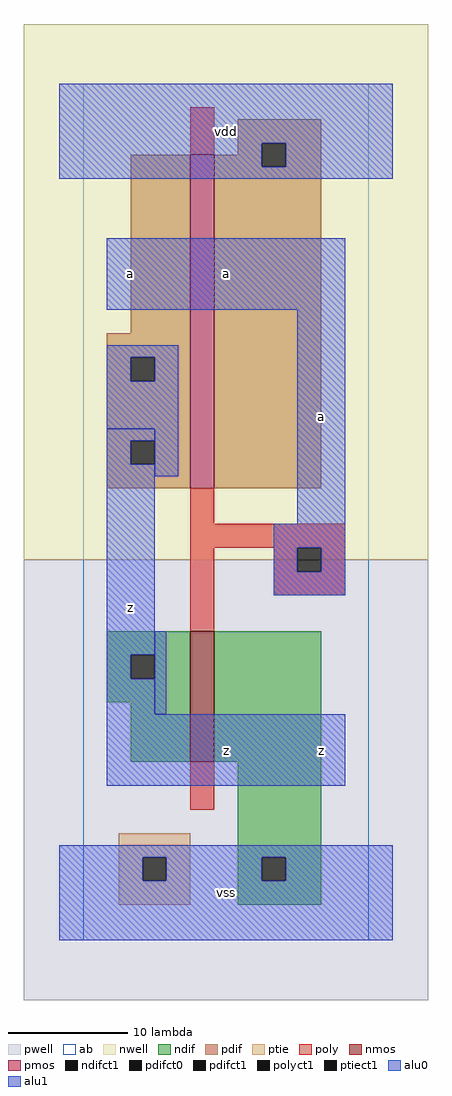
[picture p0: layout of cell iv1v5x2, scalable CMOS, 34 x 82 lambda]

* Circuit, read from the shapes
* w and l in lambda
.subckt iv1v5x2 a vdd vss z
M1 vss a z vss nfet w=11 l=2
M2 vdd a z n1 pfet w=28 l=2
.ends

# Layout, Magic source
magic
tech scmos
<< ab >>
rect 0 0 24 72
<< nwell >>
rect -5 32 29 77
<< pwell >>
rect -5 -5 29 32
<< poly >>
rect 9 66 11 70
rect 9 35 11 38
rect 9 33 22 35
rect 9 26 11 33
rect 16 31 18 33
rect 20 31 22 33
rect 16 29 22 31
rect 9 11 11 15
<< ndif >>
rect 2 24 9 26
rect 2 22 4 24
rect 6 22 9 24
rect 2 20 9 22
rect 4 15 9 20
rect 11 15 20 26
rect 13 7 20 15
rect 13 5 15 7
rect 17 5 20 7
rect 13 3 20 5
<< pdif >>
rect 13 67 20 69
rect 13 66 15 67
rect 4 51 9 66
rect 2 49 9 51
rect 2 47 4 49
rect 6 47 9 49
rect 2 42 9 47
rect 2 40 4 42
rect 6 40 9 42
rect 2 38 9 40
rect 11 65 15 66
rect 17 65 20 67
rect 11 38 20 65
<< alu1 >>
rect -2 67 26 72
rect -2 65 15 67
rect 17 65 26 67
rect -2 64 26 65
rect 2 53 22 59
rect 2 42 6 43
rect 2 40 4 42
rect 2 24 6 40
rect 18 35 22 53
rect 16 33 22 35
rect 16 31 18 33
rect 20 31 22 33
rect 16 29 22 31
rect 2 22 4 24
rect 2 19 6 22
rect 2 13 22 19
rect -2 7 26 8
rect -2 5 5 7
rect 7 5 15 7
rect 17 5 26 7
rect -2 0 26 5
<< ptie >>
rect 3 7 9 9
rect 3 5 5 7
rect 7 5 9 7
rect 3 3 9 5
<< nmos >>
rect 9 15 11 26
<< pmos >>
rect 9 38 11 66
<< polyct1 >>
rect 18 31 20 33
<< ndifct1 >>
rect 4 22 6 24
rect 15 5 17 7
<< ptiect1 >>
rect 5 5 7 7
<< pdifct0 >>
rect 4 47 6 49
<< pdifct1 >>
rect 4 40 6 42
rect 15 65 17 67
<< alu0 >>
rect 2 49 8 50
rect 2 47 4 49
rect 6 47 8 49
rect 2 43 8 47
rect 6 39 8 43
rect 6 19 7 26
<< labels >>
rlabel alu1 4 28 4 28 6 z
rlabel alu1 4 56 4 56 6 a
rlabel alu1 12 4 12 4 6 vss
rlabel alu1 12 16 12 16 6 z
rlabel alu1 12 56 12 56 6 a
rlabel alu1 12 68 12 68 6 vdd
rlabel alu1 20 16 20 16 6 z
rlabel alu1 20 44 20 44 6 a
<< end >>
